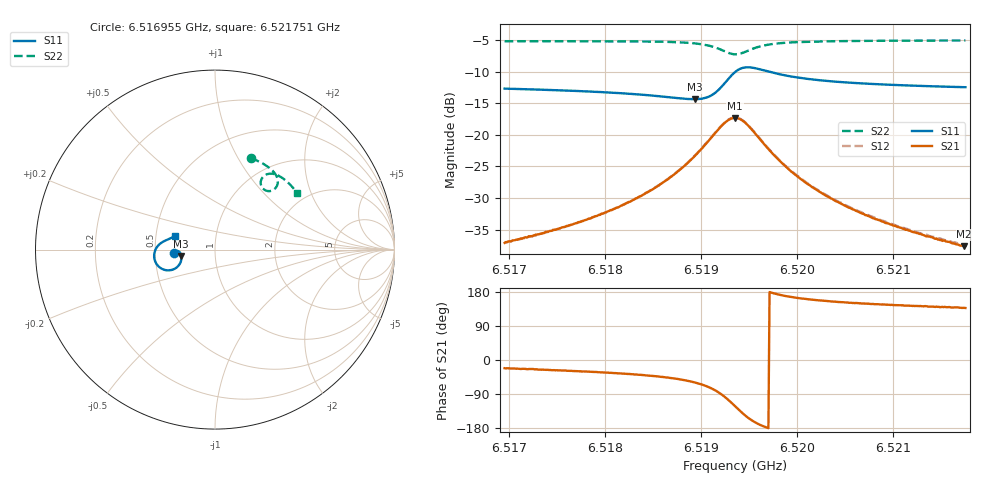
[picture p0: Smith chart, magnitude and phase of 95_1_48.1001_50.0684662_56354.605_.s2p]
#  HZ  S  RI  R  50.00
! Rohde & Schwarz Vector Network Analyzer
! Rohde-Schwarz,ZNB20-2Port,1311601062101988,3.16
! Created: UTC 12/23/2023, 3:44:10 AM
! freq[Hz]  re:S11  im:S11  re:S21  im:S21  re:S12  im:S12  re:S22  im:S22
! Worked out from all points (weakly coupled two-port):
!   401 points, 6.516955 GHz to 6.521751 GHz, reference 50 ohm
!   highest |S21| = -17.33 dB at 6.519353 GHz (marker M1); lowest = -37.6 dB at 6.521739 GHz (marker M2)
!   lowest |S11| = -14.4 dB at 6.518933 GHz (marker M3), VSWR 1.47, Z = 34.1 - j2.53 ohm
!   |S11| at or under -10 dB: start of sweep to 6.519361 GHz; 6.519699 GHz to end of sweep
!   |S22| runs from -7.3 to -5.1 dB; largest |S21 - S12| = 0.0041
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6.5169545e9  -0.2308 -0.0182  0.013 -0.00517  0.0131 -0.00471  0.2001 0.5105
6.5172903e9  -0.2273 -0.0131  0.0148 -0.00672  0.0149 -0.00637  0.225 0.5002
6.517758e9  -0.2208 -0.00749  0.0179 -0.0105  0.0183 -0.00983  0.2598 0.4834
6.5181537e9  -0.2131 -0.00519  0.0222 -0.0157  0.0226 -0.0151  0.2894 0.4654
6.5185614e9  -0.2015 -0.00955  0.0289 -0.0275  0.0297 -0.0268  0.3208 0.4393
6.5187413e9  -0.1945 -0.0174  0.0324 -0.0381  0.0339 -0.0373  0.335 0.4226
6.5189332e9  -0.1877 -0.0357  0.0348 -0.0584  0.0368 -0.0575  0.3475 0.3968
6.5190411e9  -0.1875 -0.0549  0.0317 -0.077  0.0342 -0.0765  0.3501 0.3758
6.5191251e9  -0.1945 -0.0763  0.0222 -0.0963  0.0251 -0.0964  0.3454 0.3557
6.519257e9  -0.2366 -0.1119  -0.021 -0.1246  -0.0176 -0.1261  0.313 0.3274
6.5193529e9  -0.2936 -0.1082  -0.0719 -0.1155  -0.0692 -0.1185  0.2736 0.3344
6.5194009e9  -0.3183 -0.0898  -0.092 -0.0969  -0.0898 -0.1002  0.2599 0.3505
6.5194608e9  -0.3356 -0.0587  -0.104 -0.068  -0.1029 -0.0714  0.2545 0.3743
6.5195688e9  -0.3348 -0.00924  -0.098 -0.0255  -0.098 -0.0286  0.2689 0.4066
6.5196647e9  -0.3208 0.0176  -0.0826 -0.00498  -0.0834 -0.00744  0.2891 0.4196
6.5198925e9  -0.2897 0.0439  -0.054 0.0113  -0.0547 0.00982  0.3288 0.4213
6.5201564e9  -0.2683 0.0541  -0.0361 0.0137  -0.0368 0.0129  0.3592 0.4093
6.5205161e9  -0.2518 0.061  -0.0239 0.0129  -0.0246 0.0123  0.3888 0.389
6.5209598e9  -0.2392 0.0674  -0.0163 0.0111  -0.0168 0.0108  0.4176 0.3628
6.5213436e9  -0.2313 0.0728  -0.0124 0.00969  -0.0129 0.00983  0.4387 0.3398
6.5217393e9  -0.2245 0.0783  -0.00974 0.00889  -0.0103 0.00892  0.4583 0.3153
6.5217513e9  -0.2243 0.0784  -0.00974 0.009  -0.01 0.00879  0.4588 0.3145
